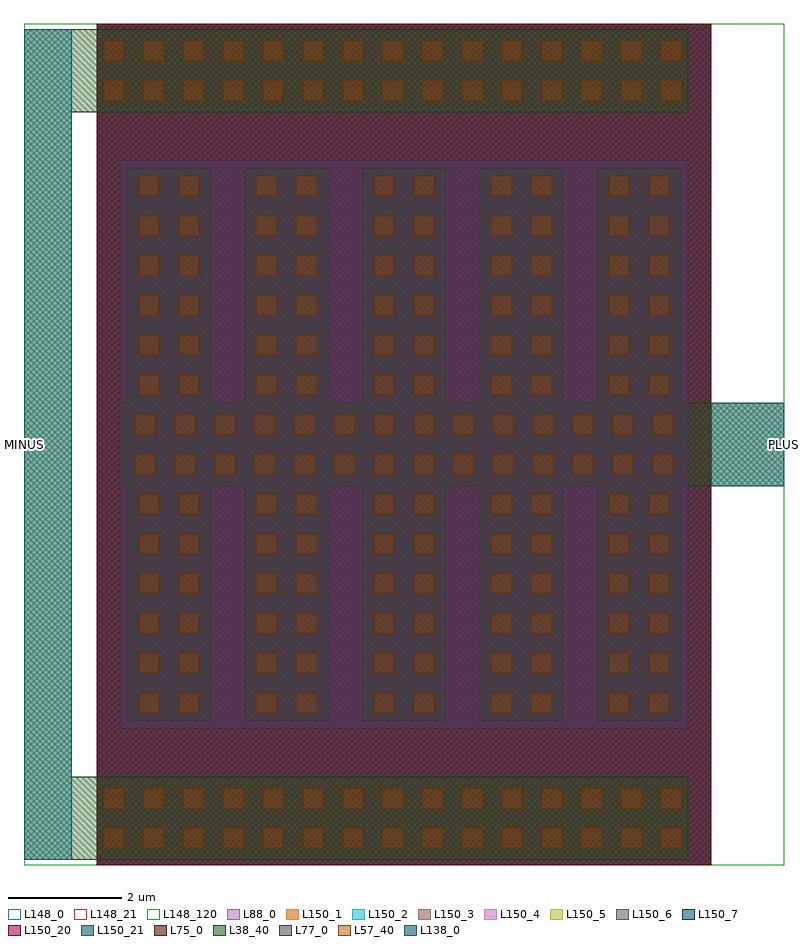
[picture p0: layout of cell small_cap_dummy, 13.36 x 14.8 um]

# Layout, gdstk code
import gdstk
lib = gdstk.Library(unit=1e-6, precision=1e-09)
def R(c, l, rs):  # rectangles x0, y0, x1, y1
    for r in rs: c.add(gdstk.rectangle(r[:2], r[2:], *l))
def A(c, l, x, y, w, h, nx, ny, dx, dy):  # array of equal rectangles
    R(c, l, [(x+i*dx, y+j*dy, x+i*dx+w, y+j*dy+h) for i in range(nx) for j in range(ny)])
L38_40 = (38, 40)
L57_40 = (57, 40)
L75_0 = (75, 0)
L77_0 = (77, 0)
L88_0 = (88, 0)
L138_0 = (138, 0)
L148_0 = (148, 0)
L148_21 = (148, 21)
L148_120 = (148, 120)
L150_1 = (150, 1)
L150_2 = (150, 2)
L150_3 = (150, 3)
L150_4 = (150, 4)
L150_5 = (150, 5)
L150_6 = (150, 6)
L150_7 = (150, 7)
L150_20 = (150, 20)
L150_21 = (150, 21)

small_cap_dummy = lib.new_cell('small_cap_dummy')
A(small_cap_dummy, L38_40, 0.14, 0.14, 1.46, 9.72, 5, 1, 2.065, 0)
R(small_cap_dummy, L38_40, [(-1.68,-2.3,10,-0.84), (-1.68,-0.84,-0.84,10.84), (0,4.27,11.68,5.73), (-1.68,10.84,10,12.3)])
A(small_cap_dummy, L57_40, -0.28, -2.1, 0.36, 0.36, 15, 2, 0.7, 0.7)
A(small_cap_dummy, L57_40, 0.34, 0.275, 0.36, 0.36, 1, 6, 0, 0.7)
A(small_cap_dummy, L57_40, 1.04, 0.275, 0.36, 0.36, 1, 6, 0, 0.7)
A(small_cap_dummy, L57_40, 2.405, 0.275, 0.36, 0.36, 1, 6, 0, 0.7)
A(small_cap_dummy, L57_40, 3.105, 0.275, 0.36, 0.36, 1, 6, 0, 0.7)
A(small_cap_dummy, L57_40, 4.47, 0.275, 0.36, 0.36, 1, 6, 0, 0.7)
A(small_cap_dummy, L57_40, 5.17, 0.275, 0.36, 0.36, 1, 6, 0, 0.7)
A(small_cap_dummy, L57_40, 6.535, 0.275, 0.36, 0.36, 1, 6, 0, 0.7)
A(small_cap_dummy, L57_40, 7.235, 0.275, 0.36, 0.36, 1, 6, 0, 0.7)
A(small_cap_dummy, L57_40, 8.6, 0.275, 0.36, 0.36, 1, 6, 0, 0.7)
A(small_cap_dummy, L57_40, 9.3, 0.275, 0.36, 0.36, 1, 6, 0, 0.7)
A(small_cap_dummy, L57_40, 0.27, 4.47, 0.36, 0.36, 14, 2, 0.7, 0.7)
A(small_cap_dummy, L57_40, 0.34, 5.865, 0.36, 0.36, 1, 6, 0, 0.7)
A(small_cap_dummy, L57_40, 1.04, 5.865, 0.36, 0.36, 1, 6, 0, 0.7)
A(small_cap_dummy, L57_40, 2.405, 5.865, 0.36, 0.36, 1, 6, 0, 0.7)
A(small_cap_dummy, L57_40, 3.105, 5.865, 0.36, 0.36, 1, 6, 0, 0.7)
A(small_cap_dummy, L57_40, 4.47, 5.865, 0.36, 0.36, 1, 6, 0, 0.7)
A(small_cap_dummy, L57_40, 5.17, 5.865, 0.36, 0.36, 1, 6, 0, 0.7)
A(small_cap_dummy, L57_40, 6.535, 5.865, 0.36, 0.36, 1, 6, 0, 0.7)
A(small_cap_dummy, L57_40, 7.235, 5.865, 0.36, 0.36, 1, 6, 0, 0.7)
A(small_cap_dummy, L57_40, 8.6, 5.865, 0.36, 0.36, 1, 6, 0, 0.7)
A(small_cap_dummy, L57_40, 9.3, 5.865, 0.36, 0.36, 1, 6, 0, 0.7)
A(small_cap_dummy, L57_40, -0.28, 11.04, 0.36, 0.36, 15, 2, 0.7, 0.7)
R(small_cap_dummy, L75_0, [(-0.4,-2.4,10.4,12.4)])
R(small_cap_dummy, L77_0, [(0,0,10,10)])
R(small_cap_dummy, L88_0, [(-0.4,-2.4,10.4,12.4)])
R(small_cap_dummy, L138_0, [(-1.68,-2.3,-0.84,12.3), (10.4,4.27,11.68,5.73)])
R(small_cap_dummy, L148_0, [(-1.68,-2.4,11.68,12.4)])
R(small_cap_dummy, L148_21, [(-1.68,-2.4,11.68,12.4)])
R(small_cap_dummy, L148_120, [(-1.68,-2.4,11.68,12.4)])
R(small_cap_dummy, L150_1, [(-0.4,-2.4,10.4,12.4)])
R(small_cap_dummy, L150_2, [(-0.4,-2.4,10.4,12.4)])
R(small_cap_dummy, L150_3, [(-0.4,-2.4,10.4,12.4)])
R(small_cap_dummy, L150_4, [(-0.4,-2.4,10.4,12.4)])
R(small_cap_dummy, L150_5, [(-0.4,-2.4,10.4,12.4)])
R(small_cap_dummy, L150_6, [(-0.4,-2.4,10.4,12.4)])
R(small_cap_dummy, L150_7, [(-0.4,-2.4,10.4,12.4)])
R(small_cap_dummy, L150_20, [(-0.4,-2.4,10.4,12.4)])
R(small_cap_dummy, L150_21, [(-0.4,-2.4,10.4,12.4)])
small_cap_dummy.add(gdstk.Label('MINUS', (-1.68,5), layer=138, texttype=0))
small_cap_dummy.add(gdstk.Label('PLUS', (11.68,5), layer=138, texttype=0))

lib.write_gds('small_cap_dummy.gds')
